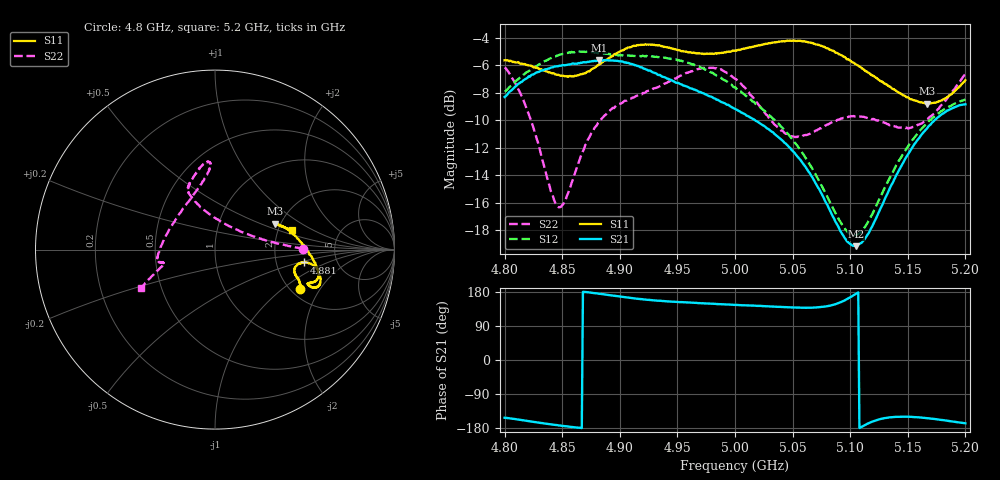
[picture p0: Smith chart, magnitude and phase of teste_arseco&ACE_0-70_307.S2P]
! Network Analyzer HP8722D
! Hewlett-Packard
! Data name: Linha & Wilkinson
! Saver's name: Rodrigo Anjos
! Comments: Teste da utilização de aquisição
! continua pelo VNA HP8722D
! Time and date: 8/5/2025 15:19
!  Frequency  S11  S21  S12  S22
# HZ  S  MA R 50
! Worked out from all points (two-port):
!   401 points, 4.8 GHz to 5.2 GHz, reference 50 ohm
!   highest |S21| = -5.63 dB at 4.882 GHz (marker M1); lowest = -19.2 dB at 5.105 GHz (marker M2)
!   |S21| within 3 dB of the highest: start of sweep to 4.987 GHz
!   lowest |S11| = -8.8 dB at 5.167 GHz (marker M3), VSWR 2.14, Z = 93.4 + j31 ohm
!   |S11| at or under -10 dB: nowhere
!   |S22| runs from -16.3 to -6.1 dB; largest |S21 - S12| = 1.1
!   S11 on the Smith chart (normalised r, x): 4.8 GHz: 2.24, -1.35; 4.881 GHz: 2.88, -0.55; 5.2 GHz: 2.36, +0.66
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4.8e9  0.5222 -24.9  0.3838 -152.5  0.4017 6.8  0.4912 0.5
4.818e9  0.5046 -20.9  0.446 -160.0  0.4684 4.4  0.3579 5.3
4.841e9  0.4676 -16.8  0.4917 -170.2  0.5339 0.6  0.1709 38.0
4.846e9  0.4619 -16.2  0.4959 -172.0  0.5428 -0.3  0.1537 55.6
4.853e9  0.4567 -14.5  0.5011 -174.9  0.554 -1.4  0.1621 80.6
4.867e9  0.4645 -10.7  0.5107 -179.6  0.5605 -3.6  0.2384 106.8
4.881e9  0.5005 -8.2  0.5207 175.3  0.5544 -4.6  0.3085 113.7
4.882e9  0.5042 -8.1  0.5232 174.8  0.5559 -4.3  0.3115 113.8
4.909e9  0.5817 -11.3  0.5066 164.1  0.5418 -3.6  0.3782 113.2
4.934e9  0.5916 -16.9  0.4612 156.3  0.5359 -4.4  0.4187 107.0
4.974e9  0.5504 -20.1  0.3928 149.3  0.4818 -7.9  0.4884 95.2
5e9  0.5657 -21.0  0.3477 145.5  0.417 -7.5  0.4474 94.4
5.042e9  0.6125 -19.0  0.2643 139.8  0.2939 0.2  0.2872 129.7
5.067e9  0.603 -14.1  0.1962 138.1  0.211 8.3  0.2851 165.2
5.093e9  0.5426 -4.7  0.1219 154.2  0.1315 33.5  0.3205 -174.1
5.105e9  0.5043 1.2  0.11 174.6  0.1206 57.0  0.3256 -170.0
5.115e9  0.4727 6.3  0.121 -168.2  0.1338 75.6  0.3217 -167.8
5.134e9  0.4191 15.7  0.177 -151.3  0.1936 94.1  0.303 -166.7
5.152e9  0.3771 22.0  0.2442 -149.9  0.2597 98.7  0.2963 -164.6
5.167e9  0.3634 23.4  0.2961 -153.5  0.3096 99.2  0.3183 -161.8
5.183e9  0.3803 20.7  0.3389 -159.7  0.3488 99.0  0.3735 -157.7
5.2e9  0.4417 14.6  0.361 -167.0  0.3767 99.6  0.4648 -152.3
